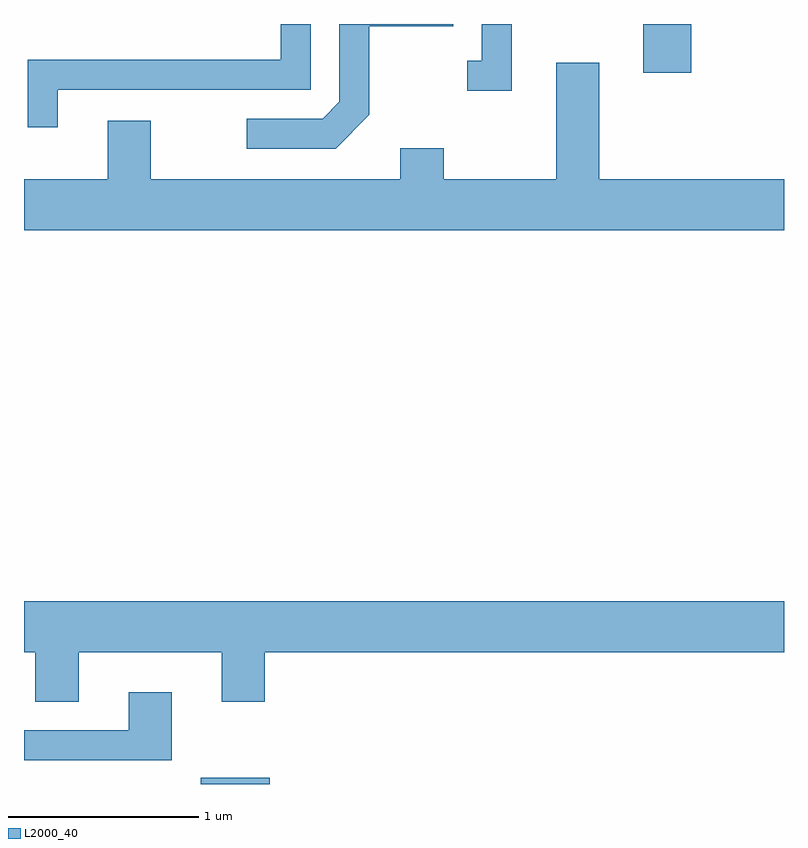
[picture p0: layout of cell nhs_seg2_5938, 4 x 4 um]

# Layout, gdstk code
import gdstk
lib = gdstk.Library(unit=1e-6, precision=1e-09)
def R(c, l, rs):  # rectangles x0, y0, x1, y1
    for r in rs: c.add(gdstk.rectangle(r[:2], r[2:], *l))
def P(c, l, *ps):  # polygons
    for p in ps: c.add(gdstk.Polygon(p, *l))
L2000_40 = (2000, 40)

nhs_seg2_5938 = lib.new_cell('nhs_seg2_5938')
R(nhs_seg2_5938, L2000_40, [(360.541,1089.802,360.904,1089.834), (362.871,1093.546,363.124,1093.802)])
P(nhs_seg2_5938, L2000_40, [(362.179,1093.802),(362.021,1093.802),(362.021,1093.609),(361.943,1093.609),(361.943,1093.451),(362.179,1093.451)],
  [(359.789,1093.456),(361.119,1093.456),(361.119,1093.802),(360.961,1093.802),(360.961,1093.614),(359.631,1093.614),(359.631,1093.258),(359.789,1093.258)],
  [(361.429,1093.324),(361.429,1093.791),(361.869,1093.791),(361.869,1093.802),(361.271,1093.802),(361.271,1093.392),(361.184,1093.304),(360.783,1093.304),(360.783,1093.146),(361.252,1093.146)],
  [(363.611,1092.984),(362.639,1092.984),(362.639,1093.599),(362.411,1093.599),(362.411,1092.984),(361.819,1092.984),(361.819,1093.149),(361.591,1093.149),(361.591,1092.984),(360.279,1092.984),(360.279,1093.294),(360.051,1093.294),(360.051,1092.984),(359.611,1092.984),(359.611,1092.716),(363.611,1092.716)],
  [(359.899,1090.496),(360.651,1090.496),(360.651,1090.236),(360.879,1090.236),(360.879,1090.496),(363.611,1090.496),(363.611,1090.764),(359.611,1090.764),(359.611,1090.496),(359.671,1090.496),(359.671,1090.236),(359.899,1090.236)],
  [(360.389,1090.284),(360.161,1090.284),(360.161,1090.084),(359.611,1090.084),(359.611,1089.926),(360.389,1089.926)])

lib.write_gds('nhs_seg2_5938.gds')
